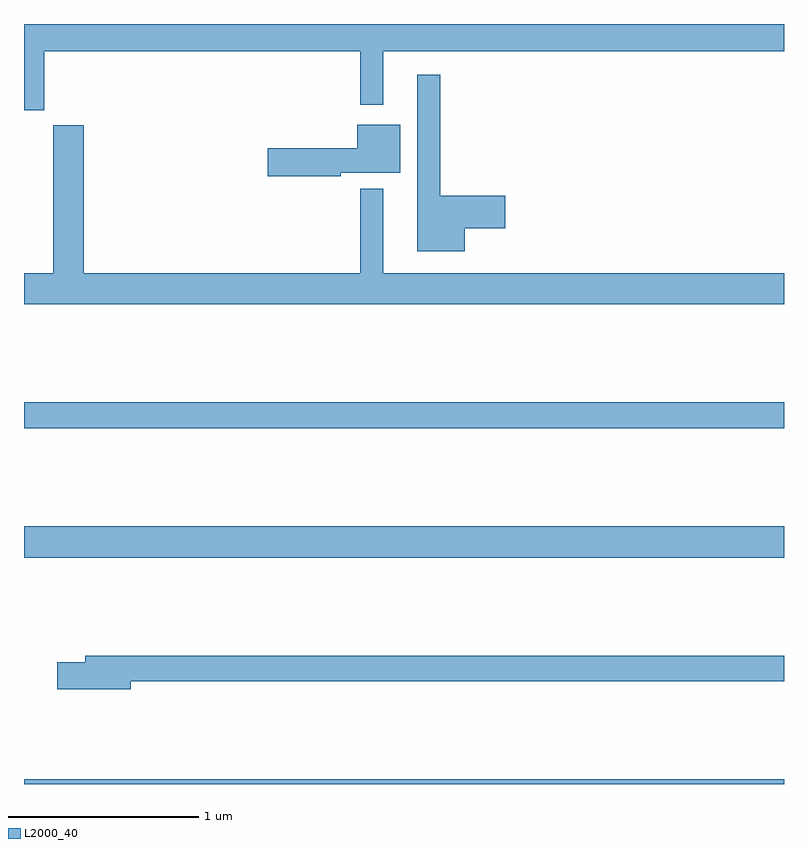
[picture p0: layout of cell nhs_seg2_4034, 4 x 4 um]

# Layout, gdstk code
import gdstk
lib = gdstk.Library(unit=1e-6, precision=1e-09)
def R(c, l, rs):  # rectangles x0, y0, x1, y1
    for r in rs: c.add(gdstk.rectangle(r[:2], r[2:], *l))
def P(c, l, *ps):  # polygons
    for p in ps: c.add(gdstk.Polygon(p, *l))
L2000_40 = (2000, 40)

nhs_seg2_4034 = lib.new_cell('nhs_seg2_4034')
R(nhs_seg2_4034, L2000_40, [(327,623.8,331,623.824), (327,624.992,331,625.156), (327,625.672,331,625.808)])
P(nhs_seg2_4034, L2000_40, [(327.106,627.656),(328.77,627.656),(328.77,627.375),(328.891,627.375),(328.891,627.656),(331,627.656),(331,627.8),(327,627.8),(327,627.347),(327.106,627.347)],
  [(329.32,626.726),(329.533,626.726),(329.533,626.897),(329.191,626.897),(329.191,627.532),(329.069,627.532),(329.069,626.603),(329.32,626.603)],
  [(328.668,627.017),(328.981,627.017),(328.981,627.271),(328.754,627.271),(328.754,627.146),(328.284,627.146),(328.284,626.999),(328.668,626.999)],
  [(331,626.488),(328.891,626.488),(328.891,626.932),(328.77,626.932),(328.77,626.488),(327.314,626.488),(327.314,627.268),(327.154,627.268),(327.154,626.488),(327,626.488),(327,626.324),(331,626.324)],
  [(327.562,624.34),(331,624.34),(331,624.476),(327.323,624.476),(327.323,624.44),(327.174,624.44),(327.174,624.298),(327.562,624.298)])

lib.write_gds('nhs_seg2_4034.gds')
